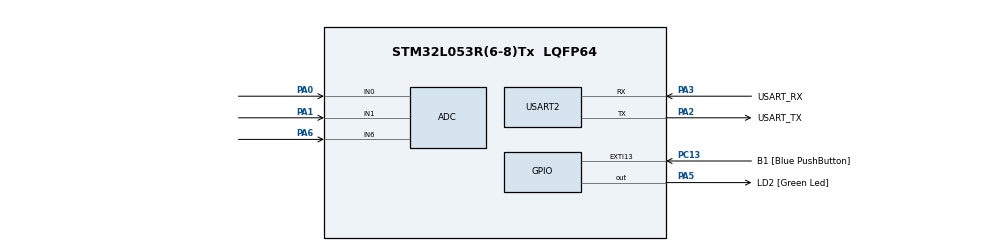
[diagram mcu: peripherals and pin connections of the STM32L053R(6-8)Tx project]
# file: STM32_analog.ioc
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ADC.ClockPrescaler=ADC_CLOCK_ASYNC_DIV4
ADC.SamplingTime=ADC_SAMPLETIME_7CYCLES_5
Mcu.Family=STM32L0
Mcu.Name=STM32L053R(6-8)Tx
Mcu.Package=LQFP64
NVIC.USART2_IRQn=true\:0\:0\:false\:false\:true\:true\:true
PA0.Mode=IN0
PA0.Signal=ADC_IN0
PA1.Mode=IN1
PA1.Signal=ADC_IN1
PA13.GPIO_Label=TMS
PA13.Mode=Serial_Wire
PA13.Signal=SYS_SWDIO
PA14.GPIO_Label=TCK
PA14.Mode=Serial_Wire
PA14.Signal=SYS_SWCLK
PA2.GPIO_Label=USART_TX
PA2.Mode=Asynchronous
PA2.Signal=USART2_TX
PA3.GPIO_Label=USART_RX
PA3.Mode=Asynchronous
PA3.Signal=USART2_RX
PA5.GPIO_Label=LD2 [Green Led]
PA5.Signal=GPIO_Output
PA6.Mode=IN6
PA6.Signal=ADC_IN6
PC13.GPIO_Label=B1 [Blue PushButton]
PC13.GPIO_ModeDefaultEXTI=GPIO_MODE_IT_FALLING
PC13.Signal=GPXTI13
PC14-OSC32_IN.Mode=LSE-External-Oscillator
PC14-OSC32_IN.Signal=RCC_OSC32_IN
PC15-OSC32_OUT.Mode=LSE-External-Oscillator
PC15-OSC32_OUT.Signal=RCC_OSC32_OUT
PH0-OSC_IN.Mode=HSE-External-Clock-Source
PH0-OSC_IN.Signal=RCC_OSC_IN
PH1-OSC_OUT.Signal=RCC_OSC_OUT
ProjectManager.HeapSize=0x200
ProjectManager.StackSize=0x400
ProjectManager.TargetToolchain=STM32CubeIDE
RCC.AHBFreq_Value=16000000
RCC.APB1Freq_Value=16000000
RCC.APB1TimFreq_Value=16000000
RCC.APB2Freq_Value=16000000
RCC.APB2TimFreq_Value=16000000
RCC.HCLKFreq_Value=16000000
RCC.HSE_VALUE=8000000
RCC.HSI16_VALUE=16000000
RCC.HSI48_VALUE=48000000
RCC.HSI_VALUE=16000000
RCC.MSI_VALUE=2097000
RCC.SYSCLKFreq_VALUE=16000000
RCC.SYSCLKSource=RCC_SYSCLKSOURCE_HSI
RCC.VCOOutputFreq_Value=48000000
USART2.VirtualMode-Asynchronous=VM_ASYNC
board=NUCLEO-L053R8

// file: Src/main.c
/* USER CODE BEGIN Header */
/**
  ******************************************************************************
  * @file           : main.c
  * @brief          : Main program body
  ******************************************************************************
  * @attention
  *
  * <h2><center>&copy; Copyright (c) 2019 STMicroelectronics.
  * All rights reserved.</center></h2>
  *
  * This software component is licensed by ST under BSD 3-Clause license,
  * the "License"; You may not use this file except in compliance with the
  * License. You may obtain a copy of the License at:
  *                        opensource.org/licenses/BSD-3-Clause
  *
  ******************************************************************************
  */
/* USER CODE END Header */

#include "main.h"
#include "adc.h"
#include "usart.h"
#include "gpio.h"

/* USER CODE BEGIN Includes */
#include <stdio.h>
#include <getch.h>
/* USER CODE END Includes */

void SystemClock_Config(void);

int main(void)
{

  /* MCU Configuration--------------------------------------------------------*/

  /* Reset of all peripherals, Initializes the Flash interface and the Systick. */

  LL_APB2_GRP1_EnableClock(LL_APB2_GRP1_PERIPH_SYSCFG);
  LL_APB1_GRP1_EnableClock(LL_APB1_GRP1_PERIPH_PWR);

  /* System interrupt init*/

  /* Configure the system clock */
  SystemClock_Config();

  /* Initialize all configured peripherals */
  MX_GPIO_Init();
  MX_USART2_UART_Init();
  MX_ADC_Init();
  /* USER CODE BEGIN 2 */
  getchInit();
  LL_USART_EnableIT_RXNE(USART2);

  /* USER CODE END 2 */

  /* Infinite loop */
  /* USER CODE BEGIN WHILE */
  while (1)
  {

	if (kbhit()) //if one char received on USART2
	{

	 /* if(getch() == 'a')

	  else{*/
	  int car = getch();
	  int num;
	  printf("Recu:%c\r\n", car);

	  if(car == 'a')
	  {

		  LL_GPIO_SetOutputPin(LD2_GPIO_Port, LD2_Pin) ;
		  printf("LED ON\n\r");

	  }

	  else if(car == 'e')
	  {

		  LL_GPIO_ResetOutputPin(LD2_GPIO_Port, LD2_Pin) ;
		  printf("LED OFF\n\r");
	  }

	  else if(car == 'm')
	  {

		  printf("pause de combien de temps ?\n\r");
		  flag = 1;

	  }
	  if (flag == 1 )
	  {
		  num = getch();
		  num = (num+2)%10;

		  printf("%d\n\r", num);
		  while(num > 0)
		  {
			  LL_GPIO_SetOutputPin(LD2_GPIO_Port, LD2_Pin) ;
			  LL_mDelay(1000);
			  num--;

		  }
		  LL_GPIO_ResetOutputPin(LD2_GPIO_Port, LD2_Pin) ;
		  flag = 0;
	  }

	}

    /* USER CODE END WHILE */

  }
}

void SystemClock_Config(void)
{
  LL_FLASH_SetLatency(LL_FLASH_LATENCY_0);

  if(LL_FLASH_GetLatency() != LL_FLASH_LATENCY_0)
  {
  Error_Handler();
  }
  LL_PWR_SetRegulVoltageScaling(LL_PWR_REGU_VOLTAGE_SCALE1);
  LL_RCC_HSI_Enable();

   /* Wait till HSI is ready */
  while(LL_RCC_HSI_IsReady() != 1)
  {

  }
  LL_RCC_HSI_SetCalibTrimming(16);
  LL_RCC_SetAHBPrescaler(LL_RCC_SYSCLK_DIV_1);
  LL_RCC_SetAPB1Prescaler(LL_RCC_APB1_DIV_1);
  LL_RCC_SetAPB2Prescaler(LL_RCC_APB2_DIV_1);
  LL_RCC_SetSysClkSource(LL_RCC_SYS_CLKSOURCE_HSI);

   /* Wait till System clock is ready */
  while(LL_RCC_GetSysClkSource() != LL_RCC_SYS_CLKSOURCE_STATUS_HSI)
  {

  }

  LL_Init1msTick(16000000);

  LL_SYSTICK_SetClkSource(LL_SYSTICK_CLKSOURCE_HCLK);
  LL_SetSystemCoreClock(16000000);
  LL_RCC_SetUSARTClockSource(LL_RCC_USART2_CLKSOURCE_PCLK1);
}

/* USER CODE BEGIN 4 */
int _write(int file,char * ptr, int len)
{
  for (int i=0; i<len;i++)
  {
    while(LL_USART_IsActiveFlag_TXE(USART2)==0);
    LL_USART_TransmitData8(USART2,*ptr);
    ptr++;
  }
return len;
}
/* USER CODE END 4 */

void Error_Handler(void)
{
}

/************************ (C) COPYRIGHT STMicroelectronics *****END OF FILE****/
